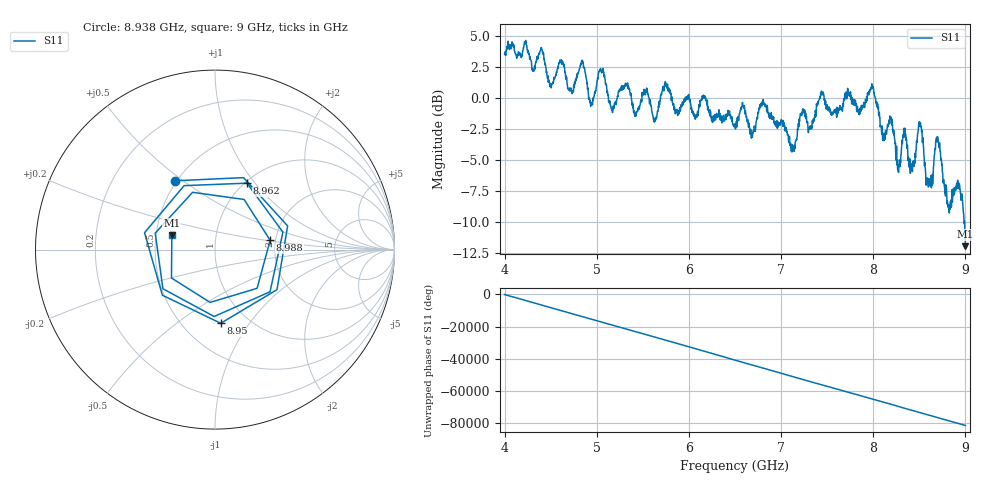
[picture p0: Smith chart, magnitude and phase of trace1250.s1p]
! Created with skrf 1.8.0 (http://scikit-rf.org).
# Hz S RI R 50.0
!freq ReS11 ImS11
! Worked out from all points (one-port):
!   1601 points, 4 GHz to 9 GHz, reference 50 ohm
!   lowest |S11| = -11.9 dB at 9 GHz (marker M1), VSWR 1.68, Z = 30.3 + j5.1 ohm
!   |S11| at or under -10 dB: 8.986371 GHz to 8.989981 GHz (3.609 MHz wide, 0.0402 % of centre); 8.991298 GHz to end of sweep
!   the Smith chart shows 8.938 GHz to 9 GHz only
!   S11 on the Smith chart (normalised r, x): 8.938 GHz: 0.49, +0.47; 8.95 GHz: 0.75, -0.74; 8.962 GHz: 1.02, +0.91; 8.988 GHz: 1.87, +0.21; 9 GHz: 0.61, +0.10
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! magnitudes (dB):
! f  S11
! 4 GHz  3.6
! 4.497 GHz  1.1
! 4.625 GHz  2.7
! 4.722 GHz  0.8
! 4.847 GHz  2.9
! 4.938 GHz  -0.4
! 5.044 GHz  2.3
! 5.162 GHz  -1.0
! 5.25 GHz  0.7
! 5.875 GHz  -1.1
! 6.5 GHz  -2.1
! 6.816 GHz  -0.5
! 7.125 GHz  -4.1
! 7.438 GHz  0.6
! 7.75 GHz  0.3
! 7.988 GHz  0.8
! 8.272 GHz  -5.9
! 8.375 GHz  -4.4
! 8.428 GHz  -5.1
! 8.506 GHz  -2.0
! 8.597 GHz  -7.1
! 8.697 GHz  -3.1
! 8.825 GHz  -9.3
! 8.938 GHz  -7.1
! 8.95 GHz  -7.7
! 8.962 GHz  -7.7
! 8.988 GHz  -10.1
! 9 GHz  -11.9
